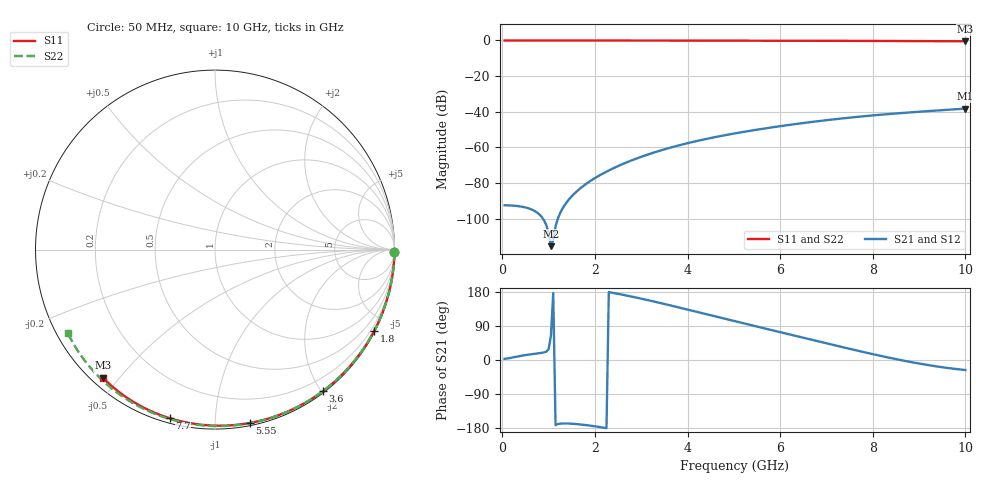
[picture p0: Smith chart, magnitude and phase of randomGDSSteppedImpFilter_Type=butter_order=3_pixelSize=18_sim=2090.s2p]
! freq	dB(S11)	phase(S11)	dB(S12)	phase(S12)
!  dB(S21)	phase(S21)	dB(S22)	phase(S22)
!S-par simulation data
#  GHz  S  DB  R 50
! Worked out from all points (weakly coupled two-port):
!   200 points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, 50 MHz to 10 GHz, reference 50 ohm
!   highest |S21| = -38.20 dB at 10 GHz (marker M1); lowest = -115.4 dB at 1.05 GHz (marker M2)
!   lowest |S11| = -0.5 dB at 10 GHz (marker M3), VSWR 37.61, Z = 1.6 - j22.6 ohm
!   |S11| at or under -10 dB: nowhere
!   |S22| runs from -0.5 to 0.0 dB; largest |S21 - S12| = 0
!   S11 on the Smith chart (normalised r, x): 50 MHz: open; 1.8 GHz: 0.04, -4.17; 3.6 GHz: 0.02, -2.02; 5.55 GHz: 0.02, -1.22; 7.7 GHz: 0.02, -0.77; 10 GHz: 0.03, -0.45
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0.05  -0.00 -0.8  -92.43 3.1  -92.43 3.1  -0.00 -0.9
0.55  -0.01 -8.3  -94.01 13.9  -94.01 13.9  -0.01 -9.6
1.05  -0.02 -15.8  -115.36 64.0  -115.36 64.0  -0.02 -18.1
1.75  -0.03 -26.2  -81.58 -170.9  -81.58 -170.9  -0.04 -30.0
1.8  -0.03 -27.0  -80.61 -171.6  -80.61 -171.6  -0.04 -30.8
1.85  -0.04 -27.7  -79.70 -172.4  -79.70 -172.4  -0.04 -31.6
2  -0.04 -29.9  -77.18 -174.9  -77.18 -174.9  -0.04 -34.1
2.15  -0.04 -32.1  -74.93 -177.8  -74.93 -177.8  -0.05 -36.6
2.35  -0.05 -35.0  -72.25 178.0  -72.25 178.0  -0.05 -39.9
2.55  -0.05 -37.9  -69.85 173.4  -69.85 173.4  -0.06 -43.2
2.95  -0.06 -43.6  -65.71 163.2  -65.71 163.2  -0.06 -49.7
3.4  -0.07 -49.9  -61.83 150.7  -61.83 150.7  -0.08 -56.9
3.6  -0.07 -52.7  -60.32 144.9  -60.32 144.9  -0.08 -60.0
4.3  -0.09 -62.3  -55.82 124.1  -55.82 124.1  -0.10 -70.8
5.05  -0.11 -72.2  -51.99 101.6  -51.99 101.6  -0.13 -82.1
5.55  -0.13 -78.7  -49.82 86.7  -49.82 86.7  -0.15 -89.3
6.1  -0.15 -85.6  -47.70 70.5  -47.70 70.5  -0.17 -97.2
6.7  -0.18 -93.0  -45.64 52.8  -45.64 52.8  -0.21 -105.6
7.7  -0.24 -105.0  -42.76 23.8  -42.76 23.8  -0.27 -119.2
8.35  -0.29 -112.6  -41.25 6.1  -41.25 6.1  -0.33 -127.9
9.2  -0.37 -122.3  -39.61 -13.5  -39.61 -13.5  -0.41 -139.4
10  -0.46 -131.2  -38.20 -26.5  -38.20 -26.5  -0.51 -150.4
